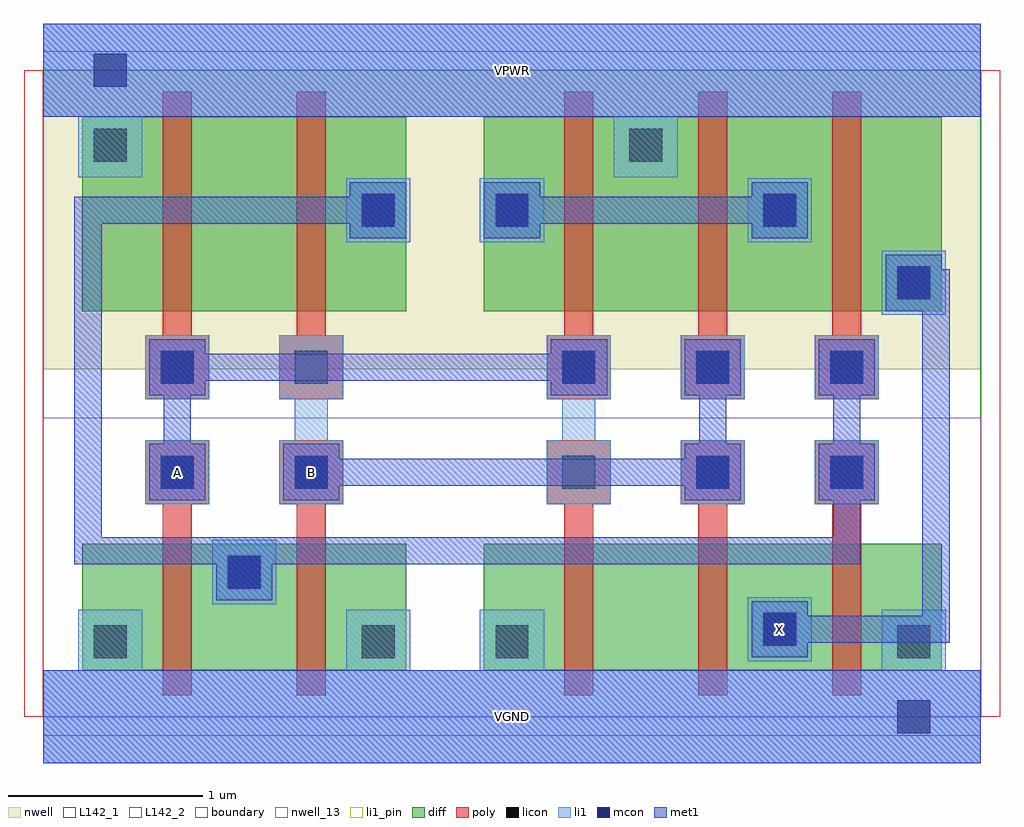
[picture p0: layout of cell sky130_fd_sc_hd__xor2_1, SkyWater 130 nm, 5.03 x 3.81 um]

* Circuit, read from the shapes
.subckt sky130_fd_sc_hd__xor2_1 A B VGND VPWR X
XM1 n1 A VGND VSUBS sky130_fd_pr__nfet_01v8 w=0.65 l=0.15
XM2 VGND B n1 VSUBS sky130_fd_pr__nfet_01v8 w=0.65 l=0.15
XM3 n2 A VGND VSUBS sky130_fd_pr__nfet_01v8 w=0.65 l=0.15
XM4 X B n2 VSUBS sky130_fd_pr__nfet_01v8 w=0.65 l=0.15
XM5 VGND n1 X VSUBS sky130_fd_pr__nfet_01v8 w=0.65 l=0.15
XM6 n3 A VPWR n4 sky130_fd_pr__pfet_01v8 w=1 l=0.15
XM7 n1 B n3 n4 sky130_fd_pr__pfet_01v8 w=1 l=0.15
XM8 VPWR A n5 n4 sky130_fd_pr__pfet_01v8 w=1 l=0.15
XM9 n5 B VPWR n4 sky130_fd_pr__pfet_01v8 w=1 l=0.15
XM10 X n1 n5 n4 sky130_fd_pr__pfet_01v8 w=1 l=0.15
.ends

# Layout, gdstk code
import gdstk
lib = gdstk.Library(unit=1e-6, precision=1e-09)
def R(c, l, rs):  # rectangles x0, y0, x1, y1
    for r in rs: c.add(gdstk.rectangle(r[:2], r[2:], *l))
def A(c, l, x, y, w, h, nx, ny, dx, dy):  # array of equal rectangles
    R(c, l, [(x+i*dx, y+j*dy, x+i*dx+w, y+j*dy+h) for i in range(nx) for j in range(ny)])
def P(c, l, *ps):  # polygons
    for p in ps: c.add(gdstk.Polygon(p, *l))
nwell_13 = (64, 13)
nwell = (64, 20)
diff = (65, 20)
poly = (66, 20)
licon = (66, 44)
li1_pin = (67, 16)
li1 = (67, 20)
mcon = (67, 44)
met1 = (68, 20)
L142_1 = (142, 1)
L142_2 = (142, 2)
boundary = (235, 4)

sky130_fd_sc_hd__xor2_1 = lib.new_cell('sky130_fd_sc_hd__xor2_1')
R(sky130_fd_sc_hd__xor2_1, nwell_13, [(0,0,4.83,1.54)])
R(sky130_fd_sc_hd__xor2_1, nwell, [(0,1.79,4.83,3.33)])
R(sky130_fd_sc_hd__xor2_1, diff, [(0.2,0.24,1.87,0.89), (0.2,0.24,0.615,0.89), (0.615,0.24,1.305,0.89), (1.305,0.24,1.87,0.89), (2.27,0.24,4.63,0.89), (2.27,0.24,2.685,0.89), (2.685,0.24,3.375,0.89), (3.375,0.24,4.065,0.89), (4.065,0.24,4.63,0.89), (0.2,2.09,1.87,3.09), (0.2,2.09,0.615,3.09), (0.615,2.09,1.305,3.09), (1.305,2.09,1.87,3.09), (2.27,2.09,4.63,3.09), (2.27,2.09,2.685,3.09), (2.685,2.09,3.375,3.09), (3.375,2.09,4.065,3.09), (4.065,2.09,4.63,3.09)])
P(sky130_fd_sc_hd__xor2_1, poly, [(1.305,0.11),(1.305,1.095),(1.215,1.095),(1.215,1.425),(1.545,1.425),(1.545,1.095),(1.455,1.095),(1.455,0.11)],
  [(3.375,0.11),(3.375,1.095),(3.285,1.095),(3.285,1.425),(3.615,1.425),(3.615,1.095),(3.525,1.095),(3.525,0.11)],
  [(1.215,1.635),(1.215,1.965),(1.305,1.965),(1.305,3.22),(1.455,3.22),(1.455,1.965),(1.545,1.965),(1.545,1.635)],
  [(3.285,1.635),(3.285,1.965),(3.375,1.965),(3.375,3.22),(3.525,3.22),(3.525,1.965),(3.615,1.965),(3.615,1.635)],
  [(4.065,0.11),(4.065,1.095),(3.975,1.095),(3.975,1.425),(4.305,1.425),(4.305,1.095),(4.215,1.095),(4.215,0.11)],
  [(3.975,1.635),(3.975,1.965),(4.065,1.965),(4.065,3.22),(4.215,3.22),(4.215,1.965),(4.305,1.965),(4.305,1.635)],
  [(0.615,0.11),(0.615,1.095),(0.525,1.095),(0.525,1.425),(0.855,1.425),(0.855,1.095),(0.765,1.095),(0.765,0.11)],
  [(2.685,0.11),(2.685,1.095),(2.595,1.095),(2.595,1.425),(2.925,1.425),(2.925,1.095),(2.835,1.095),(2.835,0.11)],
  [(0.525,1.635),(0.525,1.965),(0.615,1.965),(0.615,3.22),(0.765,3.22),(0.765,1.965),(0.855,1.965),(0.855,1.635)],
  [(2.595,1.635),(2.595,1.965),(2.685,1.965),(2.685,3.22),(2.835,3.22),(2.835,1.965),(2.925,1.965),(2.925,1.635)])
A(sky130_fd_sc_hd__xor2_1, licon, 2.675, 1.175, 0.17, 0.17, 3, 2, 0.69, 0.54)
R(sky130_fd_sc_hd__xor2_1, licon, [(0.26,0.3,0.43,0.47), (1.64,0.3,1.81,0.47), (2.33,0.3,2.5,0.47), (4.4,0.3,4.57,0.47), (3.71,0.365,3.88,0.535), (0.95,0.66,1.12,0.83), (0.605,1.175,0.775,1.345), (1.295,1.175,1.465,1.345), (0.605,1.715,0.775,1.885), (1.295,1.715,1.465,1.885), (4.4,2.15,4.57,2.32), (1.64,2.525,1.81,2.695), (2.33,2.525,2.5,2.695), (3.71,2.525,3.88,2.695), (0.26,2.86,0.43,3.03), (3.02,2.86,3.19,3.03)])
R(sky130_fd_sc_hd__xor2_1, li1_pin, [(0,-0.24,4.83,0.24), (3.63,0.285,3.96,0.615), (0.525,1.095,0.855,1.425), (0,3.09,4.83,3.57)])
P(sky130_fd_sc_hd__xor2_1, li1_pin, [(1.215,1.095),(1.215,1.425),(1.295,1.425),(1.295,1.635),(1.215,1.635),(1.215,1.965),(1.545,1.965),(1.545,1.635),(1.465,1.635),(1.465,1.425),(1.545,1.425),(1.545,1.095)])
R(sky130_fd_sc_hd__xor2_1, li1, [(3.63,0.285,3.96,0.615), (0.87,0.58,1.2,0.91), (0.525,1.095,0.855,1.425), (3.285,1.095,3.615,1.425), (3.975,1.095,4.305,1.425), (0.525,1.635,0.855,1.965), (3.285,1.635,3.615,1.965), (3.975,1.635,4.305,1.965), (4.32,2.07,4.65,2.4), (1.56,2.445,1.89,2.775), (2.25,2.445,2.58,2.775), (3.63,2.445,3.96,2.775)])
P(sky130_fd_sc_hd__xor2_1, li1, [(1.215,1.095),(1.215,1.425),(1.295,1.425),(1.295,1.635),(1.215,1.635),(1.215,1.965),(1.545,1.965),(1.545,1.635),(1.465,1.635),(1.465,1.425),(1.545,1.425),(1.545,1.095)],
  [(0.18,2.78),(0.18,3.09),(0,3.09),(0,3.57),(4.83,3.57),(4.83,3.09),(3.27,3.09),(3.27,2.78),(2.94,2.78),(2.94,3.09),(0.51,3.09),(0.51,2.78)],
  [(0,-0.24),(0,0.24),(0.18,0.24),(0.18,0.55),(0.51,0.55),(0.51,0.24),(1.56,0.24),(1.56,0.55),(1.89,0.55),(1.89,0.24),(2.25,0.24),(2.25,0.55),(2.58,0.55),(2.58,0.24),(4.32,0.24),(4.32,0.55),(4.65,0.55),(4.65,0.24),(4.83,0.24),(4.83,-0.24)],
  [(2.595,1.095),(2.595,1.425),(2.675,1.425),(2.675,1.635),(2.595,1.635),(2.595,1.965),(2.925,1.965),(2.925,1.635),(2.845,1.635),(2.845,1.425),(2.925,1.425),(2.925,1.095)])
A(sky130_fd_sc_hd__xor2_1, mcon, 2.675, 1.715, 0.17, 0.17, 3, 1, 0.69, 0)
R(sky130_fd_sc_hd__xor2_1, mcon, [(4.4,-0.085,4.57,0.085), (3.71,0.365,3.88,0.535), (0.95,0.66,1.12,0.83), (0.605,1.175,0.775,1.345), (1.295,1.175,1.465,1.345), (3.365,1.175,3.535,1.345), (4.055,1.175,4.225,1.345), (0.605,1.715,0.775,1.885), (4.4,2.15,4.57,2.32), (1.64,2.525,1.81,2.695), (2.33,2.525,2.5,2.695), (3.71,2.525,3.88,2.695), (0.26,3.245,0.43,3.415)])
R(sky130_fd_sc_hd__xor2_1, met1, [(0,-0.24,4.83,0.24), (0,3.09,4.83,3.57)])
P(sky130_fd_sc_hd__xor2_1, met1, [(2.27,2.465),(2.27,2.755),(2.56,2.755),(2.56,2.68),(3.65,2.68),(3.65,2.755),(3.94,2.755),(3.94,2.465),(3.65,2.465),(3.65,2.54),(2.56,2.54),(2.56,2.465)],
  [(1.235,1.115),(1.235,1.405),(1.525,1.405),(1.525,1.33),(3.305,1.33),(3.305,1.405),(3.38,1.405),(3.38,1.655),(3.305,1.655),(3.305,1.945),(3.595,1.945),(3.595,1.655),(3.52,1.655),(3.52,1.405),(3.595,1.405),(3.595,1.115),(3.305,1.115),(3.305,1.19),(1.525,1.19),(1.525,1.115)],
  [(0.89,0.6),(0.89,0.785),(0.16,0.785),(0.16,2.68),(1.58,2.68),(1.58,2.755),(1.87,2.755),(1.87,2.465),(1.58,2.465),(1.58,2.54),(0.3,2.54),(0.3,0.925),(4.07,0.925),(4.07,1.115),(3.995,1.115),(3.995,1.405),(4.07,1.405),(4.07,1.655),(3.995,1.655),(3.995,1.945),(4.285,1.945),(4.285,1.655),(4.21,1.655),(4.21,1.405),(4.285,1.405),(4.285,1.115),(4.21,1.115),(4.21,0.785),(1.18,0.785),(1.18,0.6)],
  [(0.545,1.115),(0.545,1.405),(0.62,1.405),(0.62,1.655),(0.545,1.655),(0.545,1.945),(0.835,1.945),(0.835,1.87),(2.615,1.87),(2.615,1.945),(2.905,1.945),(2.905,1.655),(2.615,1.655),(2.615,1.73),(0.835,1.73),(0.835,1.655),(0.76,1.655),(0.76,1.405),(0.835,1.405),(0.835,1.115)],
  [(3.65,0.305),(3.65,0.595),(3.94,0.595),(3.94,0.52),(4.53,0.52),(4.53,2.09),(4.34,2.09),(4.34,2.38),(4.63,2.38),(4.63,2.305),(4.67,2.305),(4.67,0.38),(3.94,0.38),(3.94,0.305)])
R(sky130_fd_sc_hd__xor2_1, L142_1, [(0,-0.1,4.83,0), (0,3.33,4.83,3.43)])
R(sky130_fd_sc_hd__xor2_1, L142_2, [(-0.1,0,0,3.33), (4.83,0,4.93,3.33)])
R(sky130_fd_sc_hd__xor2_1, boundary, [(0,0,4.83,3.33)])
sky130_fd_sc_hd__xor2_1.add(gdstk.Label('X', (3.795,0.45), layer=67, texttype=5))
sky130_fd_sc_hd__xor2_1.add(gdstk.Label('B', (1.38,1.26), layer=67, texttype=5))
sky130_fd_sc_hd__xor2_1.add(gdstk.Label('A', (0.69,1.26), layer=67, texttype=5))
sky130_fd_sc_hd__xor2_1.add(gdstk.Label('VGND', (2.415,0), layer=67, texttype=5))
sky130_fd_sc_hd__xor2_1.add(gdstk.Label('VPWR', (2.415,3.33), layer=67, texttype=5))
sky130_fd_sc_hd__xor2_1.add(gdstk.Label('VGND', (2.415,0), layer=68, texttype=5))
sky130_fd_sc_hd__xor2_1.add(gdstk.Label('VPWR', (2.415,3.33), layer=68, texttype=5))

lib.write_gds('sky130_fd_sc_hd__xor2_1.gds')
